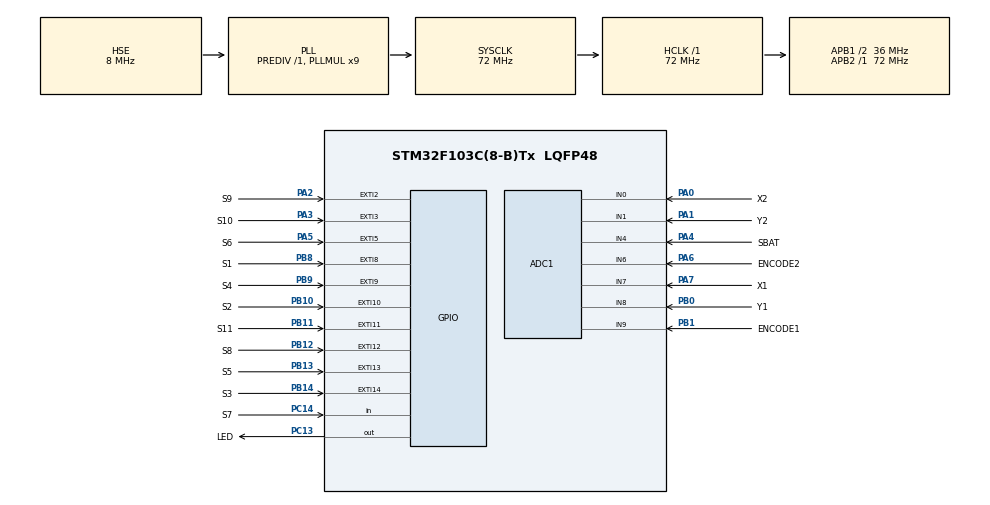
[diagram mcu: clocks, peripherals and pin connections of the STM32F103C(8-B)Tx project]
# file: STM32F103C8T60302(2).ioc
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ADC1.Channel-0\#ChannelRegularConversion=ADC_CHANNEL_0
ADC1.Channel-1\#ChannelRegularConversion=ADC_CHANNEL_1
ADC1.Channel-2\#ChannelRegularConversion=ADC_CHANNEL_7
ADC1.Channel-3\#ChannelRegularConversion=ADC_CHANNEL_8
ADC1.Channel-4\#ChannelRegularConversion=ADC_CHANNEL_4
ADC1.Channel-5\#ChannelRegularConversion=ADC_CHANNEL_9
ADC1.Channel-6\#ChannelRegularConversion=ADC_CHANNEL_6
ADC1.NbrOfConversion=7
ADC1.NbrOfConversionFlag=1
ADC1.Rank-0\#ChannelRegularConversion=1
ADC1.Rank-1\#ChannelRegularConversion=2
ADC1.Rank-2\#ChannelRegularConversion=3
ADC1.Rank-3\#ChannelRegularConversion=4
ADC1.Rank-4\#ChannelRegularConversion=5
ADC1.Rank-5\#ChannelRegularConversion=6
ADC1.Rank-6\#ChannelRegularConversion=7
ADC1.SamplingTime-0\#ChannelRegularConversion=ADC_SAMPLETIME_1CYCLE_5
ADC1.SamplingTime-1\#ChannelRegularConversion=ADC_SAMPLETIME_1CYCLE_5
ADC1.SamplingTime-2\#ChannelRegularConversion=ADC_SAMPLETIME_1CYCLE_5
ADC1.SamplingTime-3\#ChannelRegularConversion=ADC_SAMPLETIME_1CYCLE_5
ADC1.SamplingTime-4\#ChannelRegularConversion=ADC_SAMPLETIME_1CYCLE_5
ADC1.SamplingTime-5\#ChannelRegularConversion=ADC_SAMPLETIME_1CYCLE_5
ADC1.SamplingTime-6\#ChannelRegularConversion=ADC_SAMPLETIME_1CYCLE_5
ADC1.master=1
Dma.ADC1.0.Direction=DMA_PERIPH_TO_MEMORY
Dma.ADC1.0.Instance=DMA1_Channel1
Dma.ADC1.0.MemDataAlignment=DMA_MDATAALIGN_HALFWORD
Dma.ADC1.0.MemInc=DMA_MINC_ENABLE
Dma.ADC1.0.Mode=DMA_NORMAL
Dma.ADC1.0.PeriphDataAlignment=DMA_PDATAALIGN_HALFWORD
Dma.ADC1.0.PeriphInc=DMA_PINC_DISABLE
Dma.ADC1.0.Priority=DMA_PRIORITY_LOW
Dma.Request0=ADC1
FREERTOS.Tasks01=defaultTask,24,128,StartDefaultTask,Default,NULL,Dynamic,NULL,NULL;TaskPhanHoiNutN,8,128,StartTaskPhanHoiNutNhan,Default,NULL,Dynamic,NULL,NULL;TaskDocNutNhanC,8,128,StartTaskDocNutNhanConLai,Default,NULL,Dynamic,NULL,NULL
Mcu.Family=STM32F1
Mcu.Name=STM32F103C(8-B)Tx
Mcu.Package=LQFP48
NVIC.DMA1_Channel1_IRQn=true\:5\:0\:false\:false\:true\:true\:false\:true\:true
NVIC.EXTI15_10_IRQn=true\:5\:0\:false\:false\:true\:true\:true\:true\:true
NVIC.EXTI2_IRQn=true\:5\:0\:false\:false\:true\:true\:true\:true\:true
NVIC.EXTI3_IRQn=true\:5\:0\:false\:false\:true\:true\:true\:true\:true
NVIC.EXTI9_5_IRQn=true\:5\:0\:false\:false\:true\:true\:true\:true\:true
NVIC.PriorityGroup=NVIC_PRIORITYGROUP_4
PA0-WKUP.GPIO_Label=X2
PA0-WKUP.Signal=ADCx_IN0
PA1.GPIO_Label=Y2
PA1.Signal=ADCx_IN1
PA13.Mode=Serial_Wire
PA13.Signal=SYS_JTMS-SWDIO
PA14.Mode=Serial_Wire
PA14.Signal=SYS_JTCK-SWCLK
PA2.GPIO_Label=S9
PA2.GPIO_ModeDefaultEXTI=GPIO_MODE_IT_FALLING
PA2.Signal=GPXTI2
PA3.GPIO_Label=S10
PA3.GPIO_ModeDefaultEXTI=GPIO_MODE_IT_FALLING
PA3.Signal=GPXTI3
PA4.GPIO_Label=SBAT
PA4.Signal=ADCx_IN4
PA5.GPIO_Label=S6
PA5.GPIO_ModeDefaultEXTI=GPIO_MODE_IT_FALLING
PA5.Signal=GPXTI5
PA6.GPIO_Label=ENCODE2
PA6.Signal=ADCx_IN6
PA7.GPIO_Label=X1
PA7.Signal=ADCx_IN7
PB0.GPIO_Label=Y1
PB0.Signal=ADCx_IN8
PB1.GPIO_Label=ENCODE1
PB1.Signal=ADCx_IN9
PB10.GPIO_Label=S2
PB10.GPIO_ModeDefaultEXTI=GPIO_MODE_IT_FALLING
PB10.Signal=GPXTI10
PB11.GPIO_Label=S11
PB11.GPIO_ModeDefaultEXTI=GPIO_MODE_IT_FALLING
PB11.Signal=GPXTI11
PB12.GPIO_Label=S8
PB12.Signal=GPXTI12
PB13.GPIO_Label=S5
PB13.Signal=GPXTI13
PB14.GPIO_Label=S3
PB14.Signal=GPXTI14
PB8.GPIO_Label=S1
PB8.GPIO_ModeDefaultEXTI=GPIO_MODE_IT_FALLING
PB8.Signal=GPXTI8
PB9.GPIO_Label=S4
PB9.GPIO_ModeDefaultEXTI=GPIO_MODE_IT_FALLING
PB9.Signal=GPXTI9
PC13-TAMPER-RTC.GPIO_Label=LED
PC13-TAMPER-RTC.Signal=GPIO_Output
PC14-OSC32_IN.GPIO_Label=S7
PC14-OSC32_IN.Signal=GPIO_Input
PD0-OSC_IN.Mode=HSE-External-Oscillator
PD0-OSC_IN.Signal=RCC_OSC_IN
PD1-OSC_OUT.Mode=HSE-External-Oscillator
PD1-OSC_OUT.Signal=RCC_OSC_OUT
ProjectManager.HeapSize=0x200
ProjectManager.StackSize=0x400
ProjectManager.TargetToolchain=STM32CubeIDE
RCC.AHBFreq_Value=72000000
RCC.APB1CLKDivider=RCC_HCLK_DIV2
RCC.APB1Freq_Value=36000000
RCC.APB1TimFreq_Value=72000000
RCC.APB2Freq_Value=72000000
RCC.APB2TimFreq_Value=72000000
RCC.HCLKFreq_Value=72000000
RCC.PLLMUL=RCC_PLL_MUL9
RCC.PLLSourceVirtual=RCC_PLLSOURCE_HSE
RCC.SYSCLKFreq_VALUE=72000000
RCC.SYSCLKSource=RCC_SYSCLKSOURCE_PLLCLK
RCC.USBFreq_Value=72000000
SH.ADCx_IN0.0=ADC1_IN0,IN0
SH.ADCx_IN1.0=ADC1_IN1,IN1
SH.ADCx_IN4.0=ADC1_IN4,IN4
SH.ADCx_IN6.0=ADC1_IN6,IN6
SH.ADCx_IN7.0=ADC1_IN7,IN7
SH.ADCx_IN8.0=ADC1_IN8,IN8
SH.ADCx_IN9.0=ADC2_IN9
SH.ADCx_IN9.1=ADC1_IN9,IN9
VP_FREERTOS_VS_CMSIS_V2.Mode=CMSIS_V2
board=custom

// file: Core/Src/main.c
/* USER CODE BEGIN Header */
/**
  ******************************************************************************
  * @file           : main.c
  * @brief          : Main program body
  ******************************************************************************
  * @attention
  *
  * Copyright (c) 2023 STMicroelectronics.
  * All rights reserved.
  *
  * This software is licensed under terms that can be found in the LICENSE file
  * in the root directory of this software component.
  * If no LICENSE file comes with this software, it is provided AS-IS.
  *
  ******************************************************************************
  */
/* USER CODE END Header */
#include "main.h"
#include "cmsis_os.h"

ADC_HandleTypeDef hadc1;
DMA_HandleTypeDef hdma_adc1;
uint8_t countADC[4];
uint16_t averageADC[4];

/* Definitions for defaultTask */
osThreadId_t defaultTaskHandle;
const osThreadAttr_t defaultTask_attributes = {
  .name = "defaultTask",
  .stack_size = 128 * 4,
  .priority = (osPriority_t) osPriorityNormal,
};
/* Definitions for TaskPhanHoiNutN */
osThreadId_t TaskPhanHoiNutNHandle;
const osThreadAttr_t TaskPhanHoiNutN_attributes = {
  .name = "TaskPhanHoiNutN",
  .stack_size = 128 * 4,
  .priority = (osPriority_t) osPriorityLow,
};
/* Definitions for TaskDocNutNhanC */
osThreadId_t TaskDocNutNhanCHandle;
const osThreadAttr_t TaskDocNutNhanC_attributes = {
  .name = "TaskDocNutNhanC",
  .stack_size = 128 * 4,
  .priority = (osPriority_t) osPriorityLow,
};
/* USER CODE BEGIN PV */
uint8_t FlagS1;
uint8_t FlagS2;
uint8_t FlagS3;
uint8_t FlagS4;
uint8_t FlagS5;
uint8_t FlagS6;
uint8_t FlagS8;
uint8_t FlagS9;
uint16_t dataADC1[7];
/* USER CODE END PV */

void SystemClock_Config(void);
static void MX_GPIO_Init(void);
static void MX_DMA_Init(void);
static void MX_ADC1_Init(void);
void StartDefaultTask(void *argument);
void StartTaskPhanHoiNutNhan(void *argument);
void StartTaskDocNutNhanConLai(void *argument);

/* USER CODE BEGIN 0 */
#define Button_Timeout 100
#define millis() HAL_GetTick()

int YeuCauPhanHoi;

typedef struct{
	int Flag;
	int PushTime;
} _Button;

_Button S1;
_Button S2;
_Button S3;
_Button S4;
_Button S5;
_Button S6;
_Button S8;
_Button S9;
/* USER CODE END 0 */

int main(void)
{

  /* MCU Configuration--------------------------------------------------------*/

  /* Reset of all peripherals, Initializes the Flash interface and the Systick. */
  HAL_Init();

  /* Configure the system clock */
  SystemClock_Config();

  /* Initialize all configured peripherals */
  MX_GPIO_Init();
  MX_DMA_Init();
  MX_ADC1_Init();

  /* Init scheduler */
  osKernelInitialize();

  /* Create the thread(s) */
  /* creation of defaultTask */
  defaultTaskHandle = osThreadNew(StartDefaultTask, NULL, &defaultTask_attributes);

  /* creation of TaskPhanHoiNutN */
  TaskPhanHoiNutNHandle = osThreadNew(StartTaskPhanHoiNutNhan, NULL, &TaskPhanHoiNutN_attributes);

  /* creation of TaskDocNutNhanC */
  TaskDocNutNhanCHandle = osThreadNew(StartTaskDocNutNhanConLai, NULL, &TaskDocNutNhanC_attributes);

  /* Start scheduler */
  osKernelStart();

  /* We should never get here as control is now taken by the scheduler */
  /* Infinite loop */
  while (1)
  {

  }
}

void SystemClock_Config(void)
{
  RCC_OscInitTypeDef RCC_OscInitStruct = {0};
  RCC_ClkInitTypeDef RCC_ClkInitStruct = {0};
  RCC_PeriphCLKInitTypeDef PeriphClkInit = {0};

  /** Initializes the RCC Oscillators according to the specified parameters
  * in the RCC_OscInitTypeDef structure.
  */
  RCC_OscInitStruct.OscillatorType = RCC_OSCILLATORTYPE_HSE;
  RCC_OscInitStruct.HSEState = RCC_HSE_ON;
  RCC_OscInitStruct.HSEPredivValue = RCC_HSE_PREDIV_DIV1;
  RCC_OscInitStruct.HSIState = RCC_HSI_ON;
  RCC_OscInitStruct.PLL.PLLState = RCC_PLL_ON;
  RCC_OscInitStruct.PLL.PLLSource = RCC_PLLSOURCE_HSE;
  RCC_OscInitStruct.PLL.PLLMUL = RCC_PLL_MUL9;
  if (HAL_RCC_OscConfig(&RCC_OscInitStruct) != HAL_OK)
  {
    Error_Handler();
  }

  /** Initializes the CPU, AHB and APB buses clocks
  */
  RCC_ClkInitStruct.ClockType = RCC_CLOCKTYPE_HCLK|RCC_CLOCKTYPE_SYSCLK
                              |RCC_CLOCKTYPE_PCLK1|RCC_CLOCKTYPE_PCLK2;
  RCC_ClkInitStruct.SYSCLKSource = RCC_SYSCLKSOURCE_PLLCLK;
  RCC_ClkInitStruct.AHBCLKDivider = RCC_SYSCLK_DIV1;
  RCC_ClkInitStruct.APB1CLKDivider = RCC_HCLK_DIV2;
  RCC_ClkInitStruct.APB2CLKDivider = RCC_HCLK_DIV1;

  if (HAL_RCC_ClockConfig(&RCC_ClkInitStruct, FLASH_LATENCY_2) != HAL_OK)
  {
    Error_Handler();
  }
  PeriphClkInit.PeriphClockSelection = RCC_PERIPHCLK_ADC;
  PeriphClkInit.AdcClockSelection = RCC_ADCPCLK2_DIV2;
  if (HAL_RCCEx_PeriphCLKConfig(&PeriphClkInit) != HAL_OK)
  {
    Error_Handler();
  }
}

static void MX_ADC1_Init(void)
{

  ADC_ChannelConfTypeDef sConfig = {0};

  /** Common config
  */
  hadc1.Instance = ADC1;
  hadc1.Init.ScanConvMode = ADC_SCAN_ENABLE;
  hadc1.Init.ContinuousConvMode = DISABLE;
  hadc1.Init.DiscontinuousConvMode = DISABLE;
  hadc1.Init.ExternalTrigConv = ADC_SOFTWARE_START;
  hadc1.Init.DataAlign = ADC_DATAALIGN_RIGHT;
  hadc1.Init.NbrOfConversion = 7;
  if (HAL_ADC_Init(&hadc1) != HAL_OK)
  {
    Error_Handler();
  }

  /** Configure Regular Channel
  */
  sConfig.Channel = ADC_CHANNEL_0;
  sConfig.Rank = ADC_REGULAR_RANK_1;
  sConfig.SamplingTime = ADC_SAMPLETIME_1CYCLE_5;
  if (HAL_ADC_ConfigChannel(&hadc1, &sConfig) != HAL_OK)
  {
    Error_Handler();
  }

  /** Configure Regular Channel
  */
  sConfig.Channel = ADC_CHANNEL_1;
  sConfig.Rank = ADC_REGULAR_RANK_2;
  if (HAL_ADC_ConfigChannel(&hadc1, &sConfig) != HAL_OK)
  {
    Error_Handler();
  }

  /** Configure Regular Channel
  */
  sConfig.Channel = ADC_CHANNEL_7;
  sConfig.Rank = ADC_REGULAR_RANK_3;
  if (HAL_ADC_ConfigChannel(&hadc1, &sConfig) != HAL_OK)
  {
    Error_Handler();
  }

  /** Configure Regular Channel
  */
  sConfig.Channel = ADC_CHANNEL_8;
  sConfig.Rank = ADC_REGULAR_RANK_4;
  if (HAL_ADC_ConfigChannel(&hadc1, &sConfig) != HAL_OK)
  {
    Error_Handler();
  }

  /** Configure Regular Channel
  */
  sConfig.Channel = ADC_CHANNEL_4;
  sConfig.Rank = ADC_REGULAR_RANK_5;
  if (HAL_ADC_ConfigChannel(&hadc1, &sConfig) != HAL_OK)
  {
    Error_Handler();
  }

  /** Configure Regular Channel
  */
  sConfig.Channel = ADC_CHANNEL_9;
  sConfig.Rank = ADC_REGULAR_RANK_6;
  if (HAL_ADC_ConfigChannel(&hadc1, &sConfig) != HAL_OK)
  {
    Error_Handler();
  }

  /** Configure Regular Channel
  */
  sConfig.Channel = ADC_CHANNEL_6;
  sConfig.Rank = ADC_REGULAR_RANK_7;
  if (HAL_ADC_ConfigChannel(&hadc1, &sConfig) != HAL_OK)
  {
    Error_Handler();
  }

}

static void MX_DMA_Init(void)
{

  /* DMA controller clock enable */
  __HAL_RCC_DMA1_CLK_ENABLE();

  /* DMA interrupt init */
  /* DMA1_Channel1_IRQn interrupt configuration */
  HAL_NVIC_SetPriority(DMA1_Channel1_IRQn, 5, 0);
  HAL_NVIC_EnableIRQ(DMA1_Channel1_IRQn);

}

static void MX_GPIO_Init(void)
{
  GPIO_InitTypeDef GPIO_InitStruct = {0};

  /* GPIO Ports Clock Enable */
  __HAL_RCC_GPIOC_CLK_ENABLE();
  __HAL_RCC_GPIOD_CLK_ENABLE();
  __HAL_RCC_GPIOA_CLK_ENABLE();
  __HAL_RCC_GPIOB_CLK_ENABLE();

  /*Configure GPIO pin Output Level */
  HAL_GPIO_WritePin(LED_GPIO_Port, LED_Pin, GPIO_PIN_RESET);

  /*Configure GPIO pin : LED_Pin */
  GPIO_InitStruct.Pin = LED_Pin;
  GPIO_InitStruct.Mode = GPIO_MODE_OUTPUT_PP;
  GPIO_InitStruct.Pull = GPIO_NOPULL;
  GPIO_InitStruct.Speed = GPIO_SPEED_FREQ_LOW;
  HAL_GPIO_Init(LED_GPIO_Port, &GPIO_InitStruct);

  /*Configure GPIO pin : S7_Pin */
  GPIO_InitStruct.Pin = S7_Pin;
  GPIO_InitStruct.Mode = GPIO_MODE_INPUT;
  GPIO_InitStruct.Pull = GPIO_NOPULL;
  HAL_GPIO_Init(S7_GPIO_Port, &GPIO_InitStruct);

  /*Configure GPIO pins : S9_Pin S10_Pin S6_Pin */
  GPIO_InitStruct.Pin = S9_Pin|S10_Pin|S6_Pin;
  GPIO_InitStruct.Mode = GPIO_MODE_IT_FALLING;
  GPIO_InitStruct.Pull = GPIO_NOPULL;
  HAL_GPIO_Init(GPIOA, &GPIO_InitStruct);

  /*Configure GPIO pin : ENCODE1_Pin */
  GPIO_InitStruct.Pin = ENCODE1_Pin;
  GPIO_InitStruct.Mode = GPIO_MODE_ANALOG;
  HAL_GPIO_Init(ENCODE1_GPIO_Port, &GPIO_InitStruct);

  /*Configure GPIO pins : S2_Pin S11_Pin S1_Pin S4_Pin */
  GPIO_InitStruct.Pin = S2_Pin|S11_Pin|S1_Pin|S4_Pin;
  GPIO_InitStruct.Mode = GPIO_MODE_IT_FALLING;
  GPIO_InitStruct.Pull = GPIO_NOPULL;
  HAL_GPIO_Init(GPIOB, &GPIO_InitStruct);

  /*Configure GPIO pins : S8_Pin S5_Pin S3_Pin */
  GPIO_InitStruct.Pin = S8_Pin|S5_Pin|S3_Pin;
  GPIO_InitStruct.Mode = GPIO_MODE_IT_RISING;
  GPIO_InitStruct.Pull = GPIO_NOPULL;
  HAL_GPIO_Init(GPIOB, &GPIO_InitStruct);

  /* EXTI interrupt init*/
  HAL_NVIC_SetPriority(EXTI2_IRQn, 5, 0);
  HAL_NVIC_EnableIRQ(EXTI2_IRQn);

  HAL_NVIC_SetPriority(EXTI3_IRQn, 5, 0);
  HAL_NVIC_EnableIRQ(EXTI3_IRQn);

  HAL_NVIC_SetPriority(EXTI9_5_IRQn, 5, 0);
  HAL_NVIC_EnableIRQ(EXTI9_5_IRQn);

  HAL_NVIC_SetPriority(EXTI15_10_IRQn, 5, 0);
  HAL_NVIC_EnableIRQ(EXTI15_10_IRQn);

}

/* USER CODE BEGIN 4 */
void HAL_GPIO_EXTI_Callback(uint16_t GPIO_Pin)
{
	if(GPIO_Pin == S1_Pin){
		S1.Flag = 1;
		S1.PushTime = millis();
		YeuCauPhanHoi = 1;
	}
	if(GPIO_Pin == S2_Pin){
		S2.Flag = 1;
		S2.PushTime = millis();
		YeuCauPhanHoi = 1;
	}
	if(GPIO_Pin == S3_Pin){
		S3.Flag = 1;
		S3.PushTime = millis();
		YeuCauPhanHoi = 1;
	}
	if(GPIO_Pin == S4_Pin){
		S4.Flag = 1;
		S4.PushTime = millis();
		YeuCauPhanHoi = 1;
	}
	if(GPIO_Pin == S5_Pin){
		S5.Flag = 1;
		S5.PushTime = millis();
		YeuCauPhanHoi = 1;
	}
	if(GPIO_Pin == S6_Pin){
		S6.Flag = 1;
		S6.PushTime = millis();
		YeuCauPhanHoi = 1;
	}
	if(GPIO_Pin == S8_Pin){
		S8.Flag = 1;
		S8.PushTime = millis();
		YeuCauPhanHoi = 1;
	}
	if(GPIO_Pin == S9_Pin){
		S9.Flag = 1;
		S9.PushTime = millis();
		YeuCauPhanHoi = 1;
	}
	//HAL_GPIO_TogglePin(LED_GPIO_Port, LED_Pin);
}

void Bip(){
	HAL_GPIO_WritePin(LED_GPIO_Port, LED_Pin, GPIO_PIN_SET);
//	HAL_GPIO_WritePin(GPIOC, LED_Pin|BUZZER_Pin, GPIO_PIN_SET);
	osDelay(100);
	HAL_GPIO_WritePin(LED_GPIO_Port, LED_Pin, GPIO_PIN_RESET);
//	HAL_GPIO_WritePin(GPIOC, LED_Pin|BUZZER_Pin, GPIO_PIN_RESET);
	osDelay(100);
}
/* USER CODE END 4 */

void StartDefaultTask(void *argument)
{
  /* USER CODE BEGIN 5 */
  /* Infinite loop */
  for(;;)
  {
	  HAL_ADC_Start_DMA(&hadc1, (uint32_t*)dataADC1, 7);
	  osDelay(10);
	  HAL_ADC_Stop_DMA(&hadc1);
	  osDelay(1);
	  for (int i = 0; i < 4 ; i++ ){
		  countADC[i] += 1;
		  averageADC[i] = ((averageADC[i]*(countADC[i] - 1)) + dataADC1[i]) / countADC[i];
		  if (countADC[i] == 100) countADC[i] = 0;
	  }

	  //This code will take average value of 100 times of adc

    osDelay(1);
  }
  /* USER CODE END 5 */
}

void StartTaskPhanHoiNutNhan(void *argument)
{
  /* USER CODE BEGIN StartTaskPhanHoiNutNhan */
  /* Infinite loop */
  for(;;)
  {
	  if(YeuCauPhanHoi){
	  		  Bip();
	  		  YeuCauPhanHoi = 0;
	  	  }
    osDelay(1);
  }
  /* USER CODE END StartTaskPhanHoiNutNhan */
}

void StartTaskDocNutNhanConLai(void *argument)
{
  /* USER CODE BEGIN StartTaskDocNutNhanConLai */
  /* Infinite loop */
  for(;;)
  {
	  if(!HAL_GPIO_ReadPin(S7_GPIO_Port, S7_Pin))
	  {
		  Bip();
	  }
    osDelay(1);
  }
  /* USER CODE END StartTaskDocNutNhanConLai */
}

void Error_Handler(void)
{
  __disable_irq();
  while (1)
  {
  }
}
